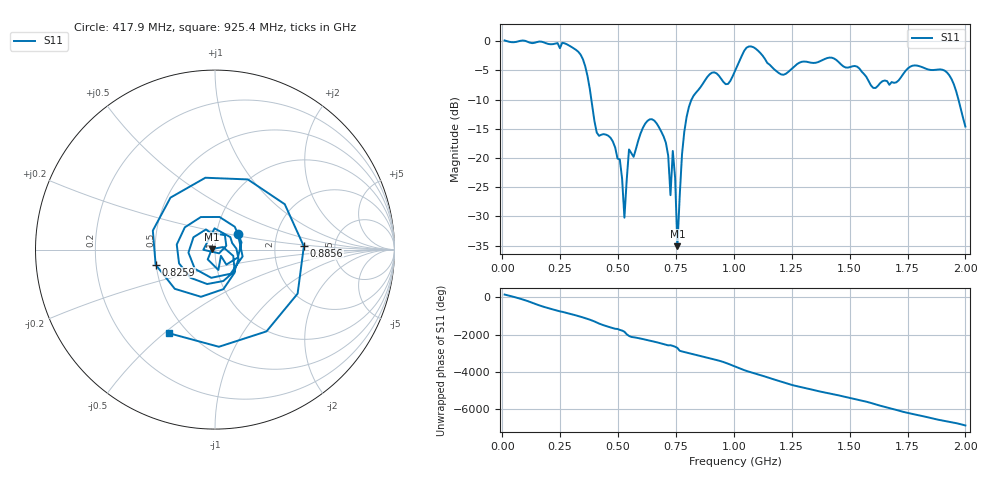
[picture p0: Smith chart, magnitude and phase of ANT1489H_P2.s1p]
!Created with skrf (http://scikit-rf.org).
# Hz S RI R 50.0
!freq ReS11 ImS11
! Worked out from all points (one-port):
!   201 points, 10 MHz to 2 GHz, reference 50 ohm
!   lowest |S11| = -35.1 dB at 756.2 MHz (marker M1), VSWR 1.04, Z = 48.3 + j0.34 ohm
!   |S11| at or under -10 dB: 384.7 MHz to 817.1 MHz (432.4 MHz wide, 72 % of centre); 1.97 GHz to end of sweep
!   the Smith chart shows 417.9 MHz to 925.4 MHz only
!   S11 on the Smith chart (normalised r, x): 417.9 MHz: 1.27, +0.23; 825.9 MHz: 0.50, -0.09; 885.6 MHz: 2.96, +0.14; 925.4 MHz: 0.40, -0.52
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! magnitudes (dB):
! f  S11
! 10 MHz  0.1
! 258.8 MHz  -0.3
! 348.3 MHz  -3.1
! 417.9 MHz  -16.2
! 507.5 MHz  -20.2
! 527.4 MHz  -30.2
! 547.3 MHz  -18.5
! 666.7 MHz  -14.1
! 706.5 MHz  -17.4
! 716.5 MHz  -19.6
! 726.4 MHz  -26.4
! 736.4 MHz  -18.8
! 746.3 MHz  -23.4
! 756.2 MHz  -35.1
! 776.1 MHz  -19.4
! 786.1 MHz  -15.5
! 825.9 MHz  -9.3
! 885.6 MHz  -6.1
! 925.4 MHz  -5.5
! 1.005 GHz  -5.1
! 1.065 GHz  -0.9
! 1.204 GHz  -5.7
! 1.254 GHz  -4.6
! 1.502 GHz  -4.4
! 1.612 GHz  -8.0
! 1.751 GHz  -4.7
! 1.92 GHz  -5.3
! 2 GHz  -14.6
